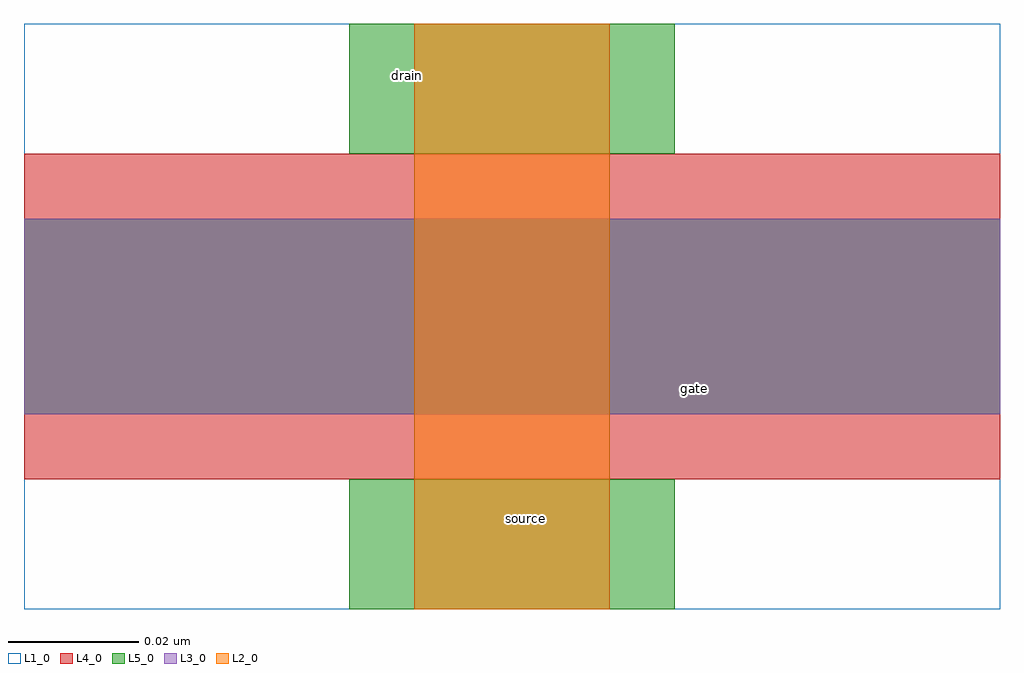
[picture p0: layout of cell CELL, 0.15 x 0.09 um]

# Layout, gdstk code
import gdstk
lib = gdstk.Library(unit=1e-6, precision=1e-09)
def R(c, l, rs):  # rectangles x0, y0, x1, y1
    for r in rs: c.add(gdstk.rectangle(r[:2], r[2:], *l))
L1_0 = (1, 0)
L2_0 = (2, 0)
L3_0 = (3, 0)
L4_0 = (4, 0)
L5_0 = (5, 0)

cell = lib.new_cell('CELL')
R(cell, L1_0, [(0,0,0.15,0.09)])
R(cell, L2_0, [(0.06,0,0.09,0.09)])
R(cell, L3_0, [(0,0.03,0.15,0.06)])
R(cell, L4_0, [(0,0.02,0.15,0.07)])
R(cell, L5_0, [(0.05,0,0.1,0.02), (0,0.03,0.15,0.06), (0.05,0.07,0.1,0.09)])
cell.add(gdstk.Label('drain', (0.059,0.082), layer=5, texttype=1))
cell.add(gdstk.Label('gate', (0.103,0.034), layer=5, texttype=1))
cell.add(gdstk.Label('source', (0.077,0.014), layer=5, texttype=1))

lib.write_gds('CELL.gds')
